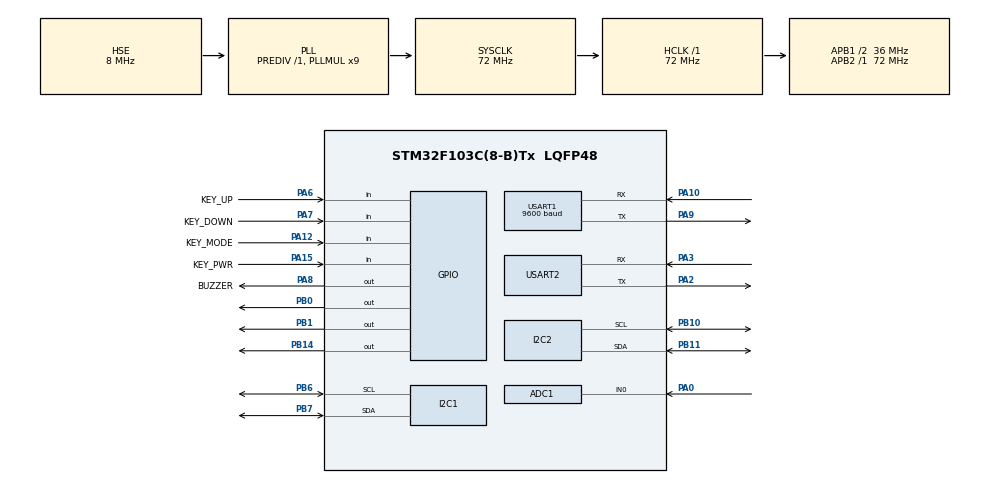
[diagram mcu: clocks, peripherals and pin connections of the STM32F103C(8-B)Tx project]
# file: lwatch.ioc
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ADC1.Channel-0\#ChannelRegularConversion=ADC_CHANNEL_0
ADC1.ContinuousConvMode=ENABLE
ADC1.NbrOfConversion=1
ADC1.NbrOfConversionFlag=1
ADC1.Rank-0\#ChannelRegularConversion=1
ADC1.SamplingTime-0\#ChannelRegularConversion=ADC_SAMPLETIME_55CYCLES_5
ADC1.master=1
FREERTOS.Tasks01=defaultTask,0,128,StartDefaultTask,Default,NULL
FREERTOS.configMAX_PRIORITIES=5
Mcu.Family=STM32F1
Mcu.Name=STM32F103C(8-B)Tx
Mcu.Package=LQFP48
NVIC.ADC1_2_IRQn=true\:5\:0\:false\:false\:true\:true\:true\:true
NVIC.PriorityGroup=NVIC_PRIORITYGROUP_4
NVIC.TIM2_IRQn=true\:0\:0\:false\:false\:true\:false\:false\:true
NVIC.TimeBase=TIM2_IRQn
NVIC.TimeBaseIP=TIM2
NVIC.USART1_IRQn=true\:5\:0\:false\:false\:true\:true\:true\:true
NVIC.USART2_IRQn=true\:5\:0\:false\:false\:true\:true\:true\:true
PA0-WKUP.Signal=ADCx_IN0
PA10.Mode=Asynchronous
PA10.Signal=USART1_RX
PA12.GPIO_Label=KEY_MODE
PA12.GPIO_PuPd=GPIO_PULLUP
PA12.Signal=GPIO_Input
PA13.Mode=Serial_Wire
PA13.Signal=SYS_JTMS-SWDIO
PA14.Mode=Serial_Wire
PA14.Signal=SYS_JTCK-SWCLK
PA15.GPIO_Label=KEY_PWR
PA15.GPIO_PuPd=GPIO_PULLUP
PA15.Signal=GPIO_Input
PA2.Mode=Asynchronous
PA2.Signal=USART2_TX
PA3.Mode=Asynchronous
PA3.Signal=USART2_RX
PA6.GPIO_Label=KEY_UP
PA6.GPIO_PuPd=GPIO_PULLUP
PA6.Signal=GPIO_Input
PA7.GPIO_Label=KEY_DOWN
PA7.GPIO_PuPd=GPIO_PULLUP
PA7.Signal=GPIO_Input
PA8.GPIO_Label=BUZZER
PA8.Signal=GPIO_Output
PA9.Mode=Asynchronous
PA9.Signal=USART1_TX
PB0.GPIO_Label=HC05 \u6A21\u5F0F\u63A7\u5236 KEY 
PB0.Signal=GPIO_Output
PB1.Signal=GPIO_Output
PB10.Mode=I2C
PB10.Signal=I2C2_SCL
PB11.Mode=I2C
PB11.Signal=I2C2_SDA
PB14.Signal=GPIO_Output
PB6.Mode=I2C
PB6.Signal=I2C1_SCL
PB7.Mode=I2C
PB7.Signal=I2C1_SDA
PC14-OSC32_IN.Mode=LSE-External-Oscillator
PC14-OSC32_IN.Signal=RCC_OSC32_IN
PC15-OSC32_OUT.Mode=LSE-External-Oscillator
PC15-OSC32_OUT.Signal=RCC_OSC32_OUT
PD0-OSC_IN.Mode=HSE-External-Oscillator
PD0-OSC_IN.Signal=RCC_OSC_IN
PD1-OSC_OUT.Mode=HSE-External-Oscillator
PD1-OSC_OUT.Signal=RCC_OSC_OUT
ProjectManager.HeapSize=0x200
ProjectManager.StackSize=0x400
ProjectManager.TargetToolchain=MDK-ARM V5
RCC.ADCPresc=RCC_ADCPCLK2_DIV6
RCC.AHBFreq_Value=72000000
RCC.APB1CLKDivider=RCC_HCLK_DIV2
RCC.APB1Freq_Value=36000000
RCC.APB1TimFreq_Value=72000000
RCC.APB2Freq_Value=72000000
RCC.APB2TimFreq_Value=72000000
RCC.HCLKFreq_Value=72000000
RCC.PLLMUL=RCC_PLL_MUL9
RCC.PLLSourceVirtual=RCC_PLLSOURCE_HSE
RCC.SYSCLKFreq_VALUE=72000000
RCC.SYSCLKSource=RCC_SYSCLKSOURCE_PLLCLK
RCC.USBFreq_Value=72000000
SH.ADCx_IN0.0=ADC1_IN0,IN0
USART1.BaudRate=9600
USART1.VirtualMode=VM_ASYNC
USART2.VirtualMode=VM_ASYNC
VP_FREERTOS_VS_CMSIS_V1.Mode=CMSIS_V1
VP_RTC_VS_RTC_Activate.Mode=RTC_Enabled
VP_SYS_VS_tim2.Mode=TIM2
board=custom

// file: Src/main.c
/* USER CODE BEGIN Header */
/**
  ******************************************************************************
  * @file           : main.c
  * @brief          : Main program body
  ******************************************************************************
  * @attention
  *
  * <h2><center>&copy; Copyright (c) 2026 STMicroelectronics.
  * All rights reserved.</center></h2>
  *
  * This software component is licensed by ST under Ultimate Liberty license
  * SLA0044, the "License"; You may not use this file except in compliance with
  * the License. You may obtain a copy of the License at:
  *                             www.st.com/SLA0044
  *
  ******************************************************************************
  */
/* USER CODE END Header */

#include "main.h"
#include "cmsis_os.h"
#include "adc.h"
#include "i2c.h"
#include "rtc.h"
#include "usart.h"
#include "gpio.h"

/* USER CODE BEGIN Includes */
#include "i2c_oled.h"
#include "key.h"
#include "apphumitmp.h"
#include "appheart.h"
#include "appTask.h"
#include <stdio.h>
#include <string.h>
/* USER CODE END Includes */

/* USER CODE BEGIN PD */
// ???????
#define DEBUG_UART huart1
/* USER CODE END PD */

/* USER CODE BEGIN PV */
RTC_TimeTypeDef sTime;
RTC_DateTypeDef sDate;
ahtData_t ahtData;
uint8_t heartVal = 0;
uint16_t heartMax = 0;
char dispBuf[64] = {0};
/* USER CODE END PV */

void SystemClock_Config(void);
void MX_FREERTOS_Init(void);
/* USER CODE BEGIN PFP */
// ??????
void uart_printf(char *str);
/* USER CODE END PFP */

/* USER CODE BEGIN 0 */
void uart_printf(char *str)
{
  HAL_UART_Transmit(&DEBUG_UART, (uint8_t *)str, strlen(str), 100);
}
/* USER CODE END 0 */

int main(void)
{

  /* MCU Configuration--------------------------------------------------------*/

  /* Reset of all peripherals, Initializes the Flash interface and the Systick. */
  HAL_Init();

  /* Configure the system clock */
  SystemClock_Config();

  /* Initialize all configured peripherals */
  MX_GPIO_Init();
  MX_ADC1_Init();
  MX_I2C1_Init();
  MX_I2C2_Init();
  MX_USART1_UART_Init();
  MX_USART2_UART_Init();
  MX_RTC_Init();
  /* USER CODE BEGIN 2 */
  OLED_Init();
  OLED_Clear();

  /* 启动画面 (调度器启动前) */
  {
      char buf[32];
      RTC_TimeTypeDef t;
      RTC_DateTypeDef d;
      const char *wk[] = {"Sun","Mon","Tue","Wed","Thu","Fri","Sat"};

      HAL_RTC_GetTime(&hrtc, &t, RTC_FORMAT_BIN);
      HAL_RTC_GetDate(&hrtc, &d, RTC_FORMAT_BIN);

      OLED_ClearBuffer();

      /* 顶部: 日期 */
      OLED_DrawHLine(0, 0, 128, OLED_COLOR_WHITE);
      snprintf(buf, sizeof(buf), "20%02d-%02d-%02d %s",
               d.Year, d.Month, d.Date, wk[d.WeekDay % 7]);
      OLED_ShowString(4, 1, (uint8_t *)buf, FONT_6X8);
      OLED_DrawHLine(0, 9, 128, OLED_COLOR_WHITE);

      /* 中央: 大号时间 (12x24, 占3行, 水平居中) */
      snprintf(buf, sizeof(buf), "%02d:%02d:%02d",
               t.Hours, t.Minutes, t.Seconds);
      OLED_ShowLargeString(18, 16, (uint8_t *)buf);

      /* 分隔线 + 底部信息 */
      OLED_DrawDashedHLine(0, 43, 128, OLED_COLOR_WHITE);
      OLED_ShowString(8, 46, (uint8_t*)"T:--.-C  H:--.-%", FONT_6X8);
      OLED_DrawHLine(0, 55, 128, OLED_COLOR_WHITE);
      OLED_ShowString(28, 57, (uint8_t*)"LWATCH v2.0", FONT_6X8);

      OLED_RefreshGram();
  }
  /* USER CODE END 2 */

  /* Call init function for freertos objects (in freertos.c) */
  MX_FREERTOS_Init();

  /* Start scheduler */
  osKernelStart();

  /* We should never get here as control is now taken by the scheduler */

  /* Infinite loop */
  /* USER CODE BEGIN WHILE */
  while (1)
  {
    // ????,??????
  }
    /* USER CODE END WHILE */

}

void SystemClock_Config(void)
{
  RCC_OscInitTypeDef RCC_OscInitStruct = {0};
  RCC_ClkInitTypeDef RCC_ClkInitStruct = {0};
  RCC_PeriphCLKInitTypeDef PeriphClkInit = {0};

  /** Initializes the CPU, AHB and APB busses clocks
  */
  RCC_OscInitStruct.OscillatorType = RCC_OSCILLATORTYPE_LSI|RCC_OSCILLATORTYPE_HSE;
  RCC_OscInitStruct.HSEState = RCC_HSE_ON;
  RCC_OscInitStruct.HSEPredivValue = RCC_HSE_PREDIV_DIV1;
  RCC_OscInitStruct.HSIState = RCC_HSI_ON;
  RCC_OscInitStruct.LSIState = RCC_LSI_ON;
  RCC_OscInitStruct.PLL.PLLState = RCC_PLL_ON;
  RCC_OscInitStruct.PLL.PLLSource = RCC_PLLSOURCE_HSE;
  RCC_OscInitStruct.PLL.PLLMUL = RCC_PLL_MUL9;
  if (HAL_RCC_OscConfig(&RCC_OscInitStruct) != HAL_OK)
  {
    Error_Handler();
  }
  /** Initializes the CPU, AHB and APB busses clocks
  */
  RCC_ClkInitStruct.ClockType = RCC_CLOCKTYPE_HCLK|RCC_CLOCKTYPE_SYSCLK
                              |RCC_CLOCKTYPE_PCLK1|RCC_CLOCKTYPE_PCLK2;
  RCC_ClkInitStruct.SYSCLKSource = RCC_SYSCLKSOURCE_PLLCLK;
  RCC_ClkInitStruct.AHBCLKDivider = RCC_SYSCLK_DIV1;
  RCC_ClkInitStruct.APB1CLKDivider = RCC_HCLK_DIV2;
  RCC_ClkInitStruct.APB2CLKDivider = RCC_HCLK_DIV1;

  if (HAL_RCC_ClockConfig(&RCC_ClkInitStruct, FLASH_LATENCY_2) != HAL_OK)
  {
    Error_Handler();
  }
  PeriphClkInit.PeriphClockSelection = RCC_PERIPHCLK_RTC|RCC_PERIPHCLK_ADC;
  PeriphClkInit.RTCClockSelection = RCC_RTCCLKSOURCE_LSI;
  PeriphClkInit.AdcClockSelection = RCC_ADCPCLK2_DIV6;
  if (HAL_RCCEx_PeriphCLKConfig(&PeriphClkInit) != HAL_OK)
  {
    Error_Handler();
  }
}

void HAL_TIM_PeriodElapsedCallback(TIM_HandleTypeDef *htim)
{
  if (htim->Instance == TIM2) {
    HAL_IncTick();
  }
}

void Error_Handler(void)
{
  /* USER CODE BEGIN Error_Handler_Debug */
  while (1)
  {
    // ?????,???LED??
  }
  /* USER CODE END Error_Handler_Debug */
}

/************************ (C) COPYRIGHT STMicroelectronics *****END OF FILE****/

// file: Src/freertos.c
/* USER CODE BEGIN Header */
/**
  ******************************************************************************
  * File Name          : freertos.c
  * Description        : Code for freertos applications
  ******************************************************************************
  * @attention
  *
  * <h2><center>&copy; Copyright (c) 2026 STMicroelectronics.
  * All rights reserved.</center></h2>
  *
  * This software component is licensed by ST under Ultimate Liberty license
  * SLA0044, the "License"; You may not use this file except in compliance with
  * the License. You may obtain a copy of the License at:
  *                             www.st.com/SLA0044
  *
  ******************************************************************************
  */
/* USER CODE END Header */

#include "FreeRTOS.h"
#include "task.h"
#include "main.h"
#include "cmsis_os.h"

/* USER CODE BEGIN Includes */
#include "appTask.h"
/* USER CODE END Includes */

osThreadId defaultTaskHandle;

void StartDefaultTask(void const * argument);

void MX_FREERTOS_Init(void); /* (MISRA C 2004 rule 8.1) */

void MX_FREERTOS_Init(void) {

  /* Create the thread(s) */
  /* definition and creation of defaultTask */
  osThreadDef(defaultTask, StartDefaultTask, osPriorityNormal, 0, 128);
  defaultTaskHandle = osThreadCreate(osThread(defaultTask), NULL);

  /* USER CODE BEGIN RTOS_THREADS */
  /* 应用任务必须�? osKernelStart() 前创�? */
  appStart();
  /* USER CODE END RTOS_THREADS */

}

void StartDefaultTask(void const * argument)
{

  for(;;)
  {
    osDelay(1);
  }
}

/************************ (C) COPYRIGHT STMicroelectronics *****END OF FILE****/
